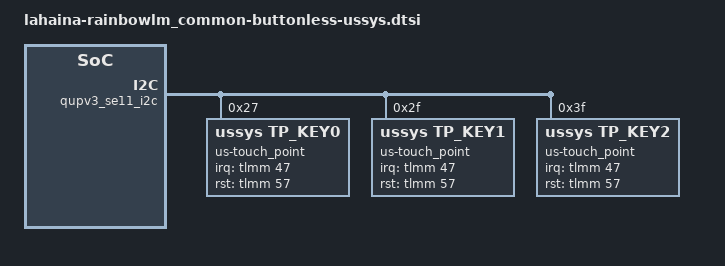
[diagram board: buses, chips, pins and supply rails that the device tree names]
/* Copyright (c) 2016-2017, The Linux Foundation. All rights reserved.
 *
 * This program is free software; you can redistribute it and/or modify
 * it under the terms of the GNU General Public License version 2 and
 * only version 2 as published by the Free Software Foundation.
 *
 * This program is distributed in the hope that it will be useful,
 * but WITHOUT ANY WARRANTY; without even the implied warranty of
 * MERCHANTABILITY or FITNESS FOR A PARTICULAR PURPOSE.  See the
 * GNU General Public License for more details.
 */

#include <dt-bindings/gpio/gpio.h>

&tlmm {
	us_touch_point_int {
		us_touch_point_int_default: us_touch_point_int_default {
			mux {
				/* GPIO 47 US touch_point Interrupt */
				pins = "gpio47";
				function = "gpio";
			};

			config {
				pins = "gpio47";
				drive-strength = <2>; /* 2 MA */
				bias-pull-up;
			};
		};
	};
	us_touch_point_rst {
		us_touch_point_rst_default: us_touch_point_rst_default {
			mux {
				pins = "gpio57";
				function = "gpio";
			};

			config {
				pins = "gpio57";
				drive-strength = <2>;
				bias-disable;
				output-low;
			};
		};
	};
};

&qupv3_se11_i2c {
	status = "ok";
	us-touch_point@27 {  /* VOLMUE DOWN */
		compatible = "ussys,tp_key0";
		//compatible = "us,touch_point";
		reg = <0x27>;
		pinctrl-names = "default";
		pinctrl-0 = <&us_touch_point_int_default &us_touch_point_rst_default>;
		interrupt-parent = <&tlmm>;
		interrupts = <47 0x2002>;
		touch_point,irq-gpios = <&tlmm 47 0>;
		touch_point,rst-gpios = <&tlmm 57 0>;
		touch_point,share-irq-pin;
		touch_point,i2c-block-off;
		touch_point,rst_high_active;
		linux,input-code = <114>;  /* VOLUME DOWN */
		wakeup-source;
	};

	us-touch_point@2F {        /* HOME */
		compatible = "ussys,tp_key1";
		//compatible = "us,touch_point";
		reg = <0x2F>;
		//pinctrl-names = "default";
		//pinctrl-0 = <&us_touch_point_int_default &us_touch_point_rst_default>;
		interrupt-parent = <&tlmm>;
		interrupts = <47 0x2002>;
		touch_point,irq-gpios = <&tlmm 47 0>;
		touch_point,rst-gpios = <&tlmm 57 0>;
		touch_point,share-irq-pin;
		touch_point,i2c-block-off;
		touch_point,rst_high_active;
		linux,input-code = <102>; /* HOME */
		wakeup-source;
	};

	us-touch_point@3F {     /* VOLUME UP */
		compatible = "ussys,tp_key2";
		//compatible = "us,touch_point";
		reg = <0x3F>;
		//pinctrl-names = "default";
		//pinctrl-0 = <&us_touch_point_int_default &us_touch_point_rst_default>;
		interrupt-parent = <&tlmm>;
		interrupts = <47 0x2002>;
		touch_point,irq-gpios = <&tlmm 47 0>;
		touch_point,rst-gpios = <&tlmm 57 0>;
		touch_point,share-irq-pin;
		touch_point,i2c-block-off;
		touch_point,rst_high_active;
		linux,input-code = <115>;  /* VOLUME UP */
		wakeup-source;
	};
};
